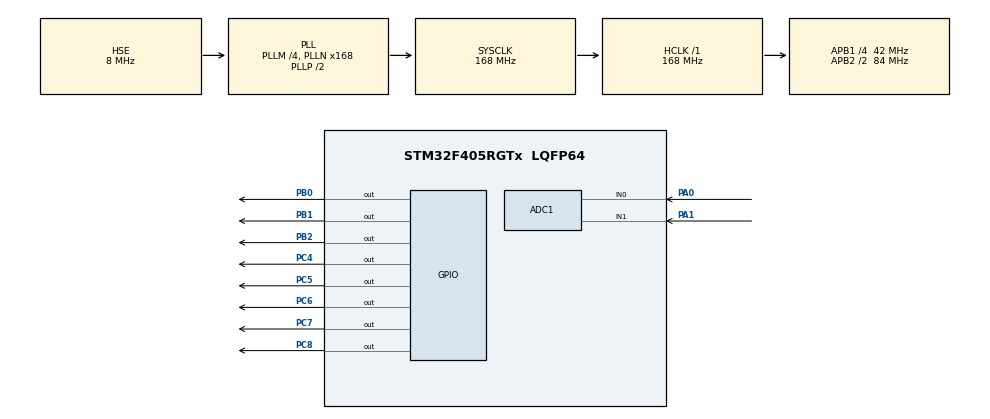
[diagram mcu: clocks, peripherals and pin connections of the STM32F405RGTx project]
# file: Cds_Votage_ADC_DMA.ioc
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ADC1.Channel-1\#ChannelRegularConversion=ADC_CHANNEL_0
ADC1.Channel-2\#ChannelRegularConversion=ADC_CHANNEL_1
ADC1.ContinuousConvMode=ENABLE
ADC1.DMAContinuousRequests=ENABLE
ADC1.NbrOfConversion=2
ADC1.NbrOfConversionFlag=1
ADC1.Rank-1\#ChannelRegularConversion=1
ADC1.Rank-2\#ChannelRegularConversion=2
ADC1.SamplingTime-1\#ChannelRegularConversion=ADC_SAMPLETIME_56CYCLES
ADC1.SamplingTime-2\#ChannelRegularConversion=ADC_SAMPLETIME_56CYCLES
ADC1.ScanConvMode=ENABLE
ADC1.master=1
Dma.ADC1.0.Direction=DMA_PERIPH_TO_MEMORY
Dma.ADC1.0.FIFOMode=DMA_FIFOMODE_DISABLE
Dma.ADC1.0.Instance=DMA2_Stream0
Dma.ADC1.0.MemDataAlignment=DMA_MDATAALIGN_WORD
Dma.ADC1.0.MemInc=DMA_MINC_ENABLE
Dma.ADC1.0.Mode=DMA_CIRCULAR
Dma.ADC1.0.PeriphDataAlignment=DMA_PDATAALIGN_WORD
Dma.ADC1.0.PeriphInc=DMA_PINC_DISABLE
Dma.ADC1.0.Priority=DMA_PRIORITY_LOW
Dma.Request0=ADC1
Mcu.Family=STM32F4
Mcu.Name=STM32F405RGTx
Mcu.Package=LQFP64
NVIC.ADC_IRQn=true\:0\:0\:false\:false\:true\:true\:true
NVIC.DMA2_Stream0_IRQn=true\:0\:0\:false\:false\:true\:false\:true
NVIC.PriorityGroup=NVIC_PRIORITYGROUP_4
PA0-WKUP.Signal=ADCx_IN0
PA1.Signal=ADCx_IN1
PA13.Mode=Serial_Wire
PA13.Signal=SYS_JTMS-SWDIO
PA14.Mode=Serial_Wire
PA14.Signal=SYS_JTCK-SWCLK
PB0.Signal=GPIO_Output
PB1.Signal=GPIO_Output
PB2.Signal=GPIO_Output
PC4.Signal=GPIO_Output
PC5.Signal=GPIO_Output
PC6.Signal=GPIO_Output
PC7.Signal=GPIO_Output
PC8.Signal=GPIO_Output
PH0-OSC_IN.Mode=HSE-External-Oscillator
PH0-OSC_IN.Signal=RCC_OSC_IN
PH1-OSC_OUT.Mode=HSE-External-Oscillator
PH1-OSC_OUT.Signal=RCC_OSC_OUT
ProjectManager.HeapSize=0x200
ProjectManager.StackSize=0x400
ProjectManager.TargetToolchain=EWARM V8.32
RCC.48MHZClocksFreq_Value=84000000
RCC.AHBFreq_Value=168000000
RCC.APB1CLKDivider=RCC_HCLK_DIV4
RCC.APB1Freq_Value=42000000
RCC.APB1TimFreq_Value=84000000
RCC.APB2CLKDivider=RCC_HCLK_DIV2
RCC.APB2Freq_Value=84000000
RCC.APB2TimFreq_Value=168000000
RCC.CortexFreq_Value=168000000
RCC.HCLKFreq_Value=168000000
RCC.HSE_VALUE=8000000
RCC.HSI_VALUE=16000000
RCC.LSE_VALUE=32768
RCC.PLLM=4
RCC.PLLN=168
RCC.PLLSourceVirtual=RCC_PLLSOURCE_HSE
RCC.SYSCLKFreq_VALUE=168000000
RCC.SYSCLKSource=RCC_SYSCLKSOURCE_PLLCLK
RCC.VCOOutputFreq_Value=336000000
SH.ADCx_IN0.0=ADC1_IN0,IN0
SH.ADCx_IN1.0=ADC1_IN1,IN1
board=custom

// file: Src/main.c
/* USER CODE BEGIN Header */
/**
******************************************************************************
* @file           : main.c
* @brief          : Main program body
******************************************************************************
* @attention
*
* <h2><center>&copy; Copyright (c) 2020 STMicroelectronics.
* All rights reserved.</center></h2>
*
* This software component is licensed by ST under BSD 3-Clause license,
* the "License"; You may not use this file except in compliance with the
* License. You may obtain a copy of the License at:
*                        opensource.org/licenses/BSD-3-Clause
*
******************************************************************************
*/
/* USER CODE END Header */

#include "main.h"
#include "adc.h"
#include "dma.h"
#include "gpio.h"

/* USER CODE BEGIN Includes */
#include "lcd.h"
#include "stdio.h"
/* USER CODE END Includes */

/* USER CODE BEGIN PV */
uint32_t adcData[2],buffer[2];
float volt;
char str[16];
/* USER CODE END PV */

void SystemClock_Config(void);

int main(void)
{

  /* MCU Configuration--------------------------------------------------------*/

  /* Reset of all peripherals, Initializes the Flash interface and the Systick. */
  HAL_Init();

  /* Configure the system clock */
  SystemClock_Config();

  /* Initialize all configured peripherals */
  MX_GPIO_Init();
  MX_DMA_Init();
  MX_ADC1_Init();
  /* USER CODE BEGIN 2 */
  lcdInit();
  HAL_ADC_Start_DMA(&hadc1, buffer, 2);

  /* USER CODE END 2 */

  /* Infinite loop */
  /* USER CODE BEGIN WHILE */
  while (1)
  {
    lcdClear();
    lcdGotoXY(0,0);

    sprintf(str,"Cds : %d",adcData[0]);
    lcdPrint(str);

    volt=(float)adcData[1]*33/4095;
    sprintf(str,"Volt : %.1f",volt);

    lcdGotoXY(0,1);
    lcdPrint(str);
    HAL_Delay(500);

    /* USER CODE END WHILE */

  }
}

void SystemClock_Config(void)
{
  RCC_OscInitTypeDef RCC_OscInitStruct = {0};
  RCC_ClkInitTypeDef RCC_ClkInitStruct = {0};

  /** Configure the main internal regulator output voltage
  */
  __HAL_RCC_PWR_CLK_ENABLE();
  __HAL_PWR_VOLTAGESCALING_CONFIG(PWR_REGULATOR_VOLTAGE_SCALE1);
  /** Initializes the CPU, AHB and APB busses clocks
  */
  RCC_OscInitStruct.OscillatorType = RCC_OSCILLATORTYPE_HSE;
  RCC_OscInitStruct.HSEState = RCC_HSE_ON;
  RCC_OscInitStruct.PLL.PLLState = RCC_PLL_ON;
  RCC_OscInitStruct.PLL.PLLSource = RCC_PLLSOURCE_HSE;
  RCC_OscInitStruct.PLL.PLLM = 4;
  RCC_OscInitStruct.PLL.PLLN = 168;
  RCC_OscInitStruct.PLL.PLLP = RCC_PLLP_DIV2;
  RCC_OscInitStruct.PLL.PLLQ = 4;
  if (HAL_RCC_OscConfig(&RCC_OscInitStruct) != HAL_OK)
  {
    Error_Handler();
  }
  /** Initializes the CPU, AHB and APB busses clocks
  */
  RCC_ClkInitStruct.ClockType = RCC_CLOCKTYPE_HCLK|RCC_CLOCKTYPE_SYSCLK
                              |RCC_CLOCKTYPE_PCLK1|RCC_CLOCKTYPE_PCLK2;
  RCC_ClkInitStruct.SYSCLKSource = RCC_SYSCLKSOURCE_PLLCLK;
  RCC_ClkInitStruct.AHBCLKDivider = RCC_SYSCLK_DIV1;
  RCC_ClkInitStruct.APB1CLKDivider = RCC_HCLK_DIV4;
  RCC_ClkInitStruct.APB2CLKDivider = RCC_HCLK_DIV2;

  if (HAL_RCC_ClockConfig(&RCC_ClkInitStruct, FLASH_LATENCY_5) != HAL_OK)
  {
    Error_Handler();
  }
}

/* USER CODE BEGIN 4 */
void HAL_ADC_ConvCpltCallback(ADC_HandleTypeDef* hadc)
{
	for (int i =0; i<2; i++)
	{
	   adcData[i] = buffer[i];  // store the values in adc[]
	}

}

/* USER CODE END 4 */

void Error_Handler(void)
{
}

/************************ (C) COPYRIGHT STMicroelectronics *****END OF FILE****/
